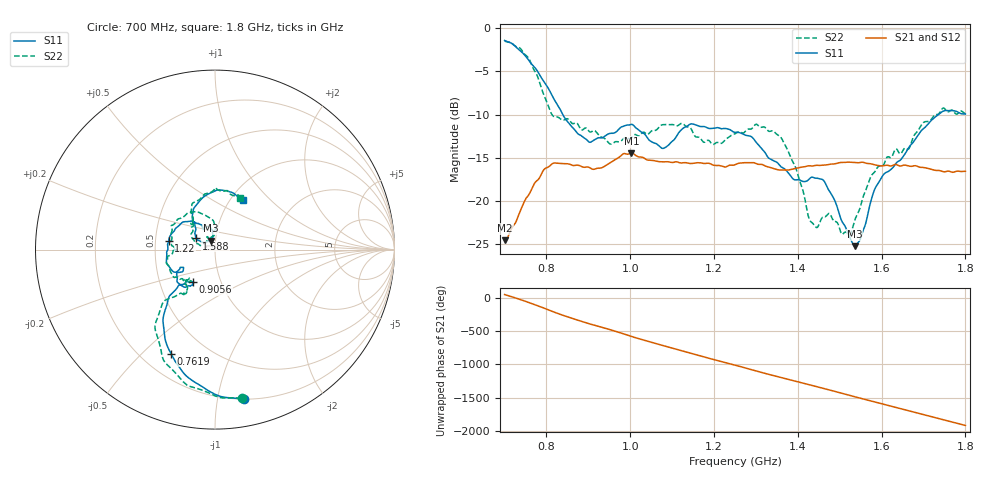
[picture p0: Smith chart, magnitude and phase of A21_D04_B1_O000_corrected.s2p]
! Created with skrf 1.9.0 (http://scikit-rf.org).
# Hz S RI R 50.0
!freq ReS11 ImS11 ReS21 ImS21 ReS12 ImS12 ReS22 ImS22
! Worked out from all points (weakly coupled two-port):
!   1601 points, 700 MHz to 1.8 GHz, reference 50 ohm
!   highest |S21| = -14.47 dB at 1.002 GHz (marker M1); lowest = -24.5 dB at 701.4 MHz (marker M2)
!   lowest |S11| = -25.2 dB at 1.536 GHz (marker M3), VSWR 1.12, Z = 47.5 + j4.71 ohm
!   |S11| at or under -10 dB: 838.9 MHz to 1.736 GHz (896.8 MHz wide, 69.7 % of centre)
!   |S22| runs from -23.9 to -1.5 dB; largest |S21 - S12| = 0.0035
!   S11 on the Smith chart (normalised r, x): 700 MHz: 0.20, -1.19; 761.9 MHz: 0.32, -0.61; 905.6 MHz: 0.73, -0.28; 1.22 GHz: 0.59, +0.06; 1.588 GHz: 0.80, +0.10; 1.8 GHz: 1.13, +0.70
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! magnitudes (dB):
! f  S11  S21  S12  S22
! 700 MHz  -1.4  -24.5  -24.3  -1.5
! 701.4 MHz  -1.5  -24.5  -24.2  -1.5
! 761.9 MHz  -4.0  -18.9  -18.8  -3.9
! 814.1 MHz  -7.9  -15.7  -15.7  -10.1
! 883.6 MHz  -12.5  -16.0  -15.9  -11.8
! 905.6 MHz  -13.2  -16.2  -16.2  -12.0
! 1.002 GHz  -11.1  -14.5  -14.6  -12.7
! 1.067 GHz  -13.5  -15.4  -15.4  -11.5
! 1.144 GHz  -11.1  -15.7  -15.7  -11.6
! 1.22 GHz  -11.6  -16.0  -16.0  -13.3
! 1.25 GHz  -12.1  -15.8  -15.7  -12.2
! 1.302 GHz  -13.3  -15.7  -15.6  -11.1
! 1.359 GHz  -16.0  -16.4  -16.4  -12.6
! 1.395 GHz  -17.5  -16.2  -16.2  -16.2
! 1.434 GHz  -17.2  -16.0  -15.9  -22.5
! 1.464 GHz  -17.8  -15.8  -15.8  -21.8
! 1.521 GHz  -23.9  -15.5  -15.5  -23.9
! 1.536 GHz  -25.2  -15.5  -15.5  -22.2
! 1.588 GHz  -18.2  -15.9  -15.9  -16.3
! 1.617 GHz  -16.5  -15.9  -15.9  -14.9
! 1.74 GHz  -9.8  -16.5  -16.5  -9.7
! 1.8 GHz  -9.9  -16.6  -16.5  -9.9
